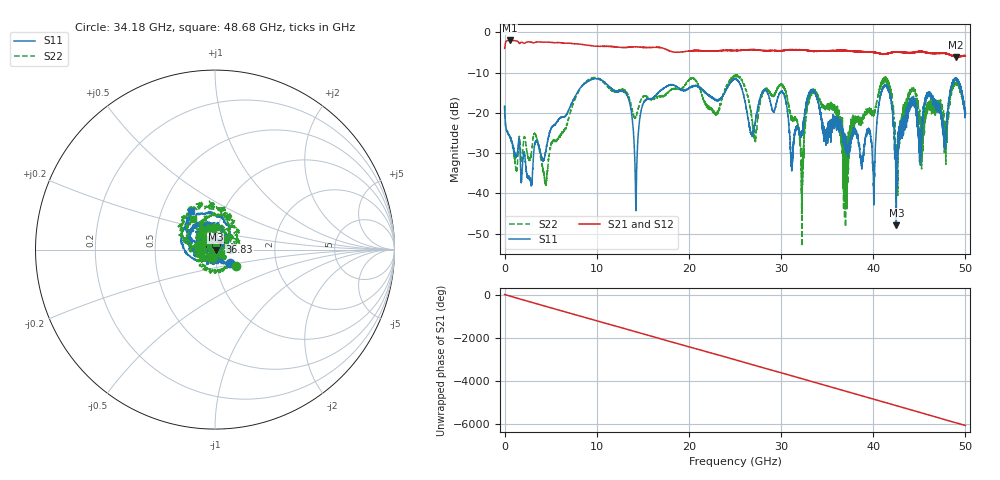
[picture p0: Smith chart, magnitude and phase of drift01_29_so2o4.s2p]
!Created with skrf (http://scikit-rf.org).
# Hz S RI R 50.0
!freq ReS11 ImS11 ReS21 ImS21 ReS12 ImS12 ReS22 ImS22
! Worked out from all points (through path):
!   10001 points, 300 kHz to 50 GHz, reference 50 ohm
!   highest |S21| = -2.00 dB at 580.3 MHz (marker M1); lowest = -6.1 dB at 48.98 GHz (marker M2)
!   group delay of S21, straight-line fit = 336 ps
!   lowest |S11| = -47.9 dB at 42.51 GHz (marker M3), VSWR 1.01, Z = 50.4 - j0.0929 ohm
!   |S11| at or under -10 dB: start of sweep to end of sweep
!   |S22| runs from -53.1 to -10.5 dB; largest |S21 - S12| = 0.018
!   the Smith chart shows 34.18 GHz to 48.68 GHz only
!   S11 on the Smith chart (normalised r, x): 34.18 GHz: 1.16, -0.18; 36.83 GHz: 1.05, +0.09; 48.68 GHz: 0.70, +0.32
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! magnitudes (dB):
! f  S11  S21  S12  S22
! 300 kHz  -18.5  -4.0  -4.1  -18.1
! 580.3 MHz  -26.0  -2.0  -2.0  -26.0
! 4.435 GHz  -29.9  -2.4  -2.4  -37.1
! 8.335 GHz  -13.5  -3.0  -3.0  -13.5
! 13.17 GHz  -15.1  -3.7  -3.7  -14.7
! 14.25 GHz  -43.6  -3.6  -3.6  -21.1
! 16.67 GHz  -14.9  -3.7  -3.7  -15.9
! 25 GHz  -11.6  -4.5  -4.5  -10.9
! 27.15 GHz  -22.6  -4.3  -4.3  -25.9
! 30.2 GHz  -15.1  -4.5  -4.5  -13.4
! 31.15 GHz  -34.2  -4.4  -4.3  -21.1
! 32.24 GHz  -24.9  -4.3  -4.3  -39.7
! 33.34 GHz  -14.3  -4.7  -4.6  -14.4
! 34.18 GHz  -19.1  -4.7  -4.6  -16.5
! 36.83 GHz  -25.6  -4.5  -4.6  -35.8
! 40.05 GHz  -41.5  -5.0  -4.9  -20.1
! 41.67 GHz  -14.2  -5.1  -5.2  -12.7
! 42.51 GHz  -47.9  -4.9  -4.9  -28.2
! 47.75 GHz  -28.0  -5.2  -5.2  -27.3
! 48.68 GHz  -12.0  -5.9  -5.8  -13.5
! 48.98 GHz  -11.5  -6.1  -6.0  -12.6
! 50 GHz  -19.9  -5.8  -5.8  -19.5
